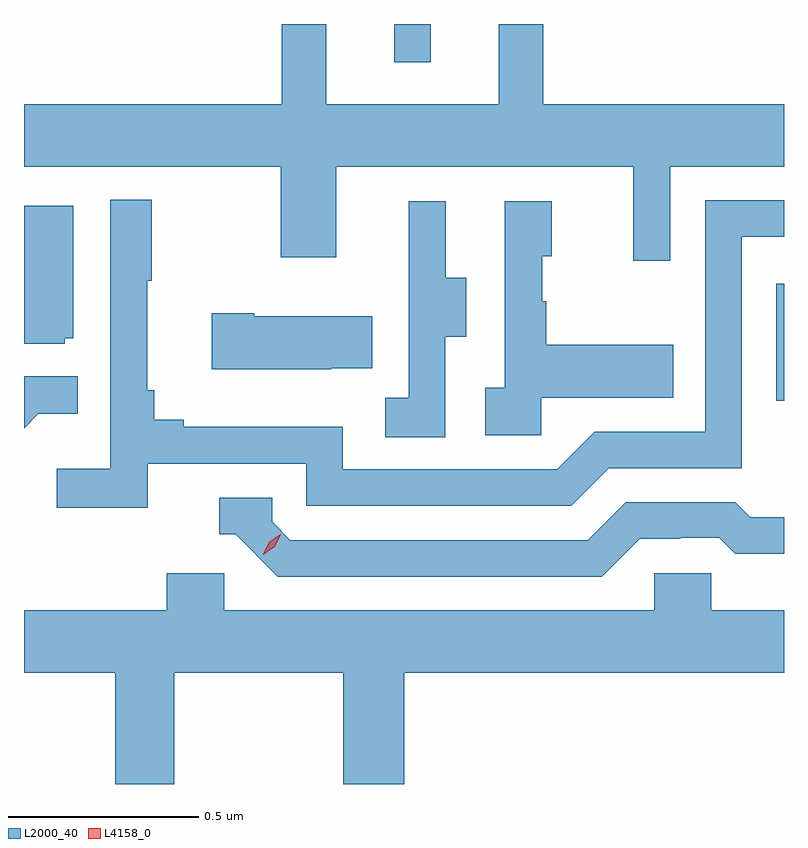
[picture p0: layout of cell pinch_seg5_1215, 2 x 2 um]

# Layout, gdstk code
import gdstk
lib = gdstk.Library(unit=1e-6, precision=1e-09)
def R(c, l, rs):  # rectangles x0, y0, x1, y1
    for r in rs: c.add(gdstk.rectangle(r[:2], r[2:], *l))
def P(c, l, *ps):  # polygons
    for p in ps: c.add(gdstk.Polygon(p, *l))
L2000_40 = (2000, 40)
L4158_0 = (4158, 0)

pinch_seg5_1215 = lib.new_cell('pinch_seg5_1215')
R(pinch_seg5_1215, L2000_40, [(823.362,853.479,823.383,853.788), (822.357,854.37,822.454,854.471)])
P(pinch_seg5_1215, L2000_40, [(823.083,854.096),(823.383,854.096),(823.383,854.26),(822.749,854.26),(822.749,854.471),(822.632,854.471),(822.632,854.26),(822.179,854.26),(822.179,854.471),(822.061,854.471),(822.061,854.26),(821.383,854.26),(821.383,854.096),(822.058,854.096),(822.058,853.857),(822.205,853.857),(822.205,854.096),(822.986,854.096),(822.986,853.848),(823.083,853.848)],
  [(821.708,853.314),(822.126,853.314),(822.126,853.203),(822.823,853.203),(822.922,853.302),(823.272,853.302),(823.272,853.911),(823.383,853.911),(823.383,854.007),(823.176,854.007),(823.176,853.398),(822.885,853.398),(822.786,853.299),(822.222,853.299),(822.222,853.411),(821.803,853.411),(821.803,853.43),(821.726,853.43),(821.726,853.507),(821.707,853.507),(821.707,853.795),(821.719,853.795),(821.719,854.008),(821.61,854.008),(821.61,853.3),(821.469,853.3),(821.469,853.198),(821.708,853.198)],
  [(822.744,853.487),(823.091,853.487),(823.091,853.627),(822.757,853.627),(822.757,853.742),(822.747,853.742),(822.747,853.86),(822.772,853.86),(822.772,854.005),(822.648,854.005),(822.648,853.514),(822.597,853.514),(822.597,853.389),(822.744,853.389)],
  [(822.492,853.648),(822.547,853.648),(822.547,853.803),(822.493,853.803),(822.493,854.005),(822.395,854.005),(822.395,853.791),(822.396,853.791),(822.396,853.487),(822.333,853.487),(822.333,853.384),(822.492,853.384)],
  [(821.49,853.644),(821.512,853.644),(821.512,853.993),(821.383,853.993),(821.383,853.629),(821.49,853.629)],
  [(822.191,853.565),(822.299,853.565),(822.299,853.702),(821.989,853.702),(821.989,853.71),(821.877,853.71),(821.877,853.562),(822.191,853.562)],
  [(821.421,853.445),(821.525,853.445),(821.525,853.544),(821.383,853.544),(821.383,853.407)],
  [(823.003,853.116),(823.11,853.116),(823.11,853.119),(823.213,853.119),(823.255,853.077),(823.383,853.077),(823.383,853.173),(823.294,853.173),(823.255,853.212),(822.966,853.212),(822.867,853.113),(822.084,853.113),(822.036,853.161),(822.036,853.224),(821.897,853.224),(821.897,853.128),(821.94,853.128),(822.051,853.017),(822.904,853.017)],
  [(821.91,853.026),(821.759,853.026),(821.759,852.928),(821.383,852.928),(821.383,852.764),(821.623,852.764),(821.623,852.471),(821.778,852.471),(821.778,852.764),(822.223,852.764),(822.223,852.471),(822.383,852.471),(822.383,852.764),(823.383,852.764),(823.383,852.928),(823.191,852.928),(823.191,853.026),(823.041,853.026),(823.041,852.928),(821.91,852.928)])
P(pinch_seg5_1215, L4158_0, [(822.013,853.074),(822.013,853.075),(822.028,853.108),(822.059,853.128),(822.059,853.128),(822.059,853.128),(822.043,853.095),(822.013,853.074)])

lib.write_gds('pinch_seg5_1215.gds')
